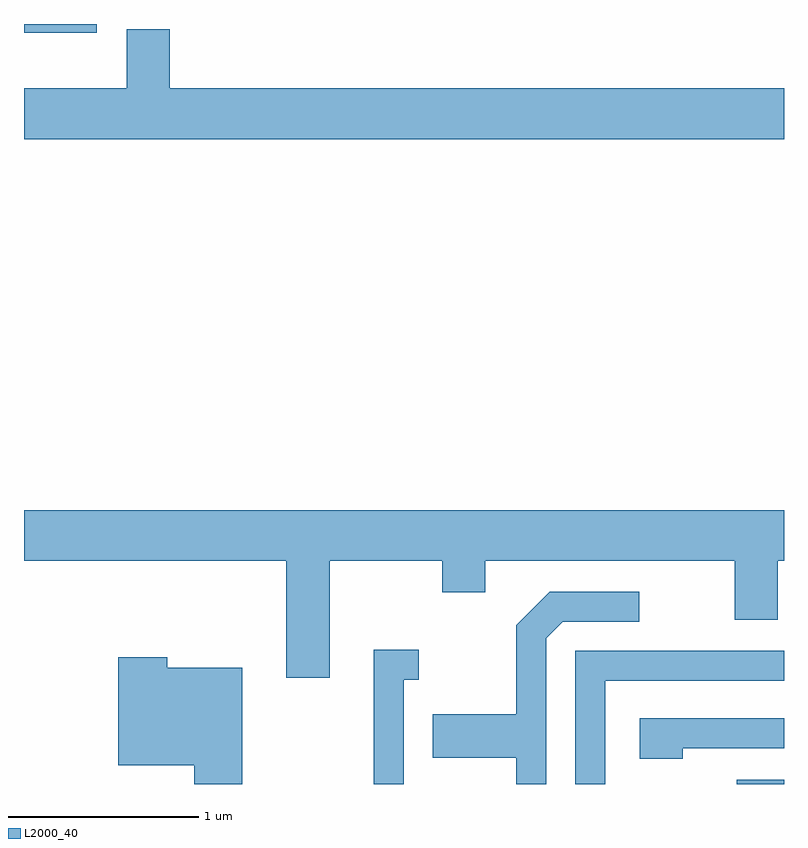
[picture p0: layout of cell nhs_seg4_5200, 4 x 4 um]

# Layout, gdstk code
import gdstk
lib = gdstk.Library(unit=1e-6, precision=1e-09)
def R(c, l, rs):  # rectangles x0, y0, x1, y1
    for r in rs: c.add(gdstk.rectangle(r[:2], r[2:], *l))
def P(c, l, *ps):  # polygons
    for p in ps: c.add(gdstk.Polygon(p, *l))
L2000_40 = (2000, 40)

nhs_seg4_5200 = lib.new_cell('nhs_seg4_5200')
R(nhs_seg4_5200, L2000_40, [(341.363,1317.982,341.611,1318.004), (337.611,1321.936,337.994,1321.982)])
P(nhs_seg4_5200, L2000_40, [(341.611,1321.644),(338.379,1321.644),(338.379,1321.954),(338.151,1321.954),(338.151,1321.644),(337.611,1321.644),(337.611,1321.376),(341.611,1321.376)],
  [(339.219,1319.156),(339.811,1319.156),(339.811,1318.991),(340.039,1318.991),(340.039,1319.156),(341.351,1319.156),(341.351,1318.846),(341.579,1318.846),(341.579,1319.156),(341.611,1319.156),(341.611,1319.424),(337.611,1319.424),(337.611,1319.156),(338.991,1319.156),(338.991,1318.541),(339.219,1318.541)],
  [(340.359,1318.749),(340.447,1318.836),(340.848,1318.836),(340.848,1318.994),(340.379,1318.994),(340.201,1318.817),(340.201,1318.349),(339.761,1318.349),(339.761,1318.121),(340.201,1318.121),(340.201,1317.982),(340.359,1317.982)],
  [(339.609,1318.531),(339.688,1318.531),(339.688,1318.689),(339.451,1318.689),(339.451,1317.982),(339.609,1317.982)],
  [(340.669,1318.526),(341.611,1318.526),(341.611,1318.684),(340.511,1318.684),(340.511,1317.982),(340.669,1317.982)],
  [(338.759,1318.594),(338.364,1318.594),(338.364,1318.649),(338.106,1318.649),(338.106,1318.081),(338.506,1318.081),(338.506,1317.982),(338.759,1317.982)],
  [(341.079,1318.171),(341.611,1318.171),(341.611,1318.329),(340.851,1318.329),(340.851,1318.116),(341.079,1318.116)])

lib.write_gds('nhs_seg4_5200.gds')
